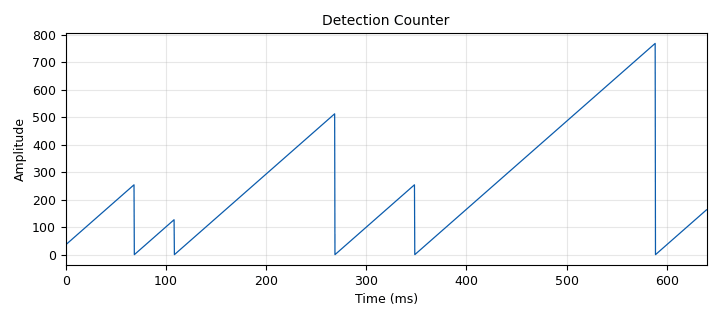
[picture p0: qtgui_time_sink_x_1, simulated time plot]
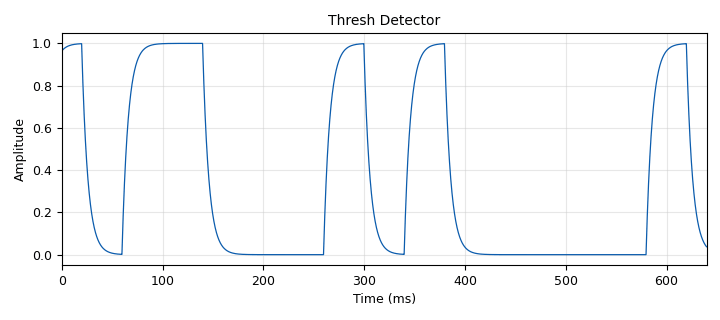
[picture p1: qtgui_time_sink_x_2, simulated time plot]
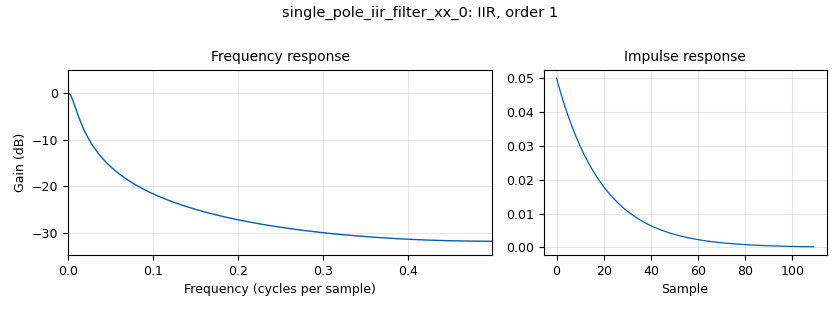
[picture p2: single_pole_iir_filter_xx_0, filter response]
options:
  parameters:
    generate_options: qt_gui
    id: Tags
    output_language: python
    title: tagtutorial
  states: {}

blocks:
- name: samp_rate
  id: variable
  parameters:
    value: '3200'
  states: {}
- name: blocks_add_const_vxx_0
  id: blocks_add_const_vxx
  parameters:
    const: '0.5'
    type: float
  states: {}
- name: blocks_multiply_const_vxx_0
  id: blocks_multiply_const_vxx
  parameters:
    const: '0.5'
    type: float
  states: {}
- name: blocks_repeat_0
  id: blocks_repeat
  parameters:
    interp: '128'
    type: float
  states: {}
- name: blocks_tag_gate_0
  id: blocks_tag_gate
  parameters:
    propagate_tags: 'False'
    type: float
  states: {}
- name: blocks_throttle_0
  id: blocks_throttle
  parameters:
    samples_per_second: samp_rate
    type: float
  states: {}
- name: digital_glfsr_source_x_0
  id: digital_glfsr_source_x
  parameters:
    degree: '32'
    mask: '0'
    repeat: 'True'
    seed: '1'
    type: float
  states: {}
- name: epy_block_0
  id: epy_block
  parameters:
    _source_code: |
      """
      Embedded Python Blocks:

      Each time this file is saved, GRC will instantiate the first class it finds
      to get ports and parameters of your block. The arguments to __init__  will
      be the parameters. All of them are required to have default values!
      """

      import numpy as np
      from gnuradio import gr
      import pmt


      class blk(gr.sync_block):  # other base classes are basic_block, decim_block, interp_block
          """Embedded Python Block example - a simple multiply const"""

          def __init__(self, threshold=1.0, report_period=128):  # only default arguments here
              """arguments to this function show up as parameters in GRC"""
              gr.sync_block.__init__(
                  self,
                  name='Threshold Detector',   # will show up in GRC
                  in_sig=[np.float32],
                  out_sig=[np.float32]
              )
              # if an attribute with the same name as a parameter is found,
              # a callback is registered (properties work, too).
              self.threshold = threshold
              self.report_period = report_period
              
              self.timer = 0
              self.readyForTag = True

          def work(self, input_items, output_items):
              """example: multiply with constant"""
              
              for index in range(len(input_items[0])):
                  if (input_items[0][index] >= self.threshold and self.readyForTag == True):
                      key = pmt.intern('detect')
                      
                      value = pmt.from_float(np.round(float(input_items[0][index]),2))
                      
                      writeIndex = self.nitems_written(0) + index
                      
                      self.add_item_tag(0, writeIndex, key, value )
                      self.readyForTag = False
                      
                  if (self.readyForTag == False):
                      self.timer = self.timer + 1
                          
                  if (self.timer >= self.report_period):
                      self.timer = 0
                      self.readyForTag = True
                                          
              output_items[0][:] = input_items[0]
              return len(output_items[0])
    report_period: '128'
    threshold: '0.75'
  states: {}
- name: epy_block_1
  id: epy_block
  parameters:
    _source_code: |
      """
      Embedded Python Blocks:

      Each time this file is saved, GRC will instantiate the first class it finds
      to get ports and parameters of your block. The arguments to __init__  will
      be the parameters. All of them are required to have default values!
      """

      import numpy as np
      from gnuradio import gr
      import pmt

      class blk(gr.sync_block):  # other base classes are basic_block, decim_block, interp_block
          """Embedded Python Block example - a simple multiply const"""

          def __init__(self):  # only default arguments here
              """arguments to this function show up as parameters in GRC"""
              gr.sync_block.__init__(
                  self,
                  name='Detection Counter',   # will show up in GRC
                  in_sig=[np.float32],
                  out_sig=[np.float32]
              )
              # if an attribute with the same name as a parameter is found,
              # a callback is registered (properties work, too).
              self.samplesSinceDetection = 0

          def work(self, input_items, output_items):
              """example: multiply with constant"""
              tagTuple = self.get_tags_in_window(0, 0, len(input_items[0]))
              
              relativeOffsetList = []
              
              for tag in tagTuple:
                  if (pmt.to_python(tag.key) == 'detect'):
                      relativeOffsetList.append( tag.offset - self.nitems_read(0) )
                      
              relativeOffsetList.sort()
              
              for index in range(len(output_items[0])):
                  output_items[0][index] = self.samplesSinceDetection
                  
                  if (len(relativeOffsetList) > 0 and index >= relativeOffsetList[0]):
                      relativeOffsetList.pop(0)
                      self.samplesSinceDetection = 0
                  else:
                      self.samplesSinceDetection = self.samplesSinceDetection + 1

              return len(output_items[0])
  states: {}
- name: qtgui_time_sink_x_0
  id: qtgui_time_sink_x
  parameters:
    autoscale: 'True'
    size: '2048'
    srate: samp_rate
    type: float
  states: {state: disabled}
- name: qtgui_time_sink_x_1
  id: qtgui_time_sink_x
  parameters:
    autoscale: 'True'
    name: '"Detection Counter"'
    size: '2048'
    srate: samp_rate
    type: float
  states: {}
- name: qtgui_time_sink_x_2
  id: qtgui_time_sink_x
  parameters:
    autoscale: 'True'
    name: '"Thresh Detector"'
    size: '2048'
    srate: samp_rate
    type: float
  states: {}
- name: single_pole_iir_filter_xx_0
  id: single_pole_iir_filter_xx
  parameters:
    alpha: '0.05'
    type: float
  states: {}
- name: virtual_sink_0
  id: virtual_sink
  parameters:
    stream_id: signal
  states: {}
- name: virtual_source_0
  id: virtual_source
  parameters:
    stream_id: signal
  states: {}

connections:
- [blocks_add_const_vxx_0, '0', single_pole_iir_filter_xx_0, '0']
- [blocks_multiply_const_vxx_0, '0', blocks_add_const_vxx_0, '0']
- [blocks_repeat_0, '0', blocks_multiply_const_vxx_0, '0']
- [blocks_tag_gate_0, '0', qtgui_time_sink_x_1, '0']
- [blocks_throttle_0, '0', qtgui_time_sink_x_0, '0']
- [blocks_throttle_0, '0', virtual_sink_0, '0']
- [digital_glfsr_source_x_0, '0', blocks_repeat_0, '0']
- [epy_block_0, '0', epy_block_1, '0']
- [epy_block_0, '0', qtgui_time_sink_x_2, '0']
- [epy_block_1, '0', blocks_tag_gate_0, '0']
- [single_pole_iir_filter_xx_0, '0', blocks_throttle_0, '0']
- [virtual_source_0, '0', epy_block_0, '0']

metadata:
  file_format: 1
